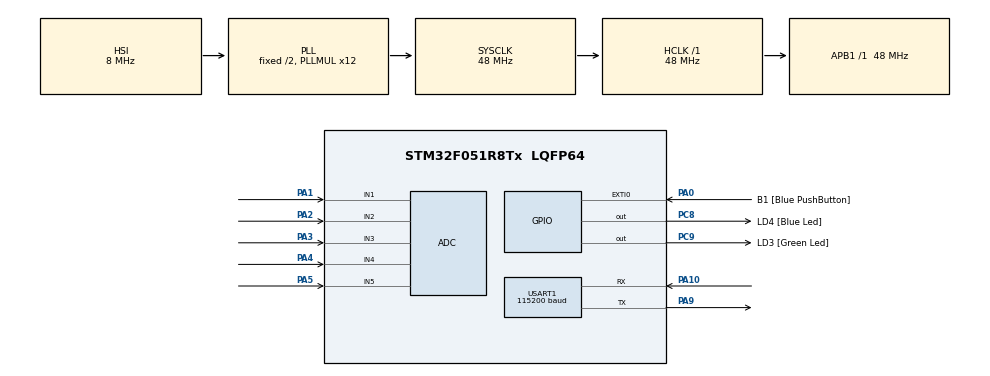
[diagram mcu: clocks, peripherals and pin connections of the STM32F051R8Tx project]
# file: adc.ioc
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ADC.ContinuousConvMode=DISABLE
ADC.DiscontinuousConvMode=DISABLE
ADC.ScanConvMode=ADC_SCAN_DIRECTION_FORWARD
Mcu.Family=STM32F0
Mcu.Name=STM32F051R8Tx
Mcu.Package=LQFP64
NVIC.USART1_IRQn=true\:0\:0\:false\:false\:true\:true\:true
PA0.GPIO_Label=B1 [Blue PushButton]
PA0.GPIO_ModeDefaultEXTI=GPIO_MODE_EVT_RISING
PA0.Signal=GPXTI0
PA1.Mode=IN1
PA1.Signal=ADC_IN1
PA10.Mode=Asynchronous
PA10.Signal=USART1_RX
PA13.GPIO_Label=SWDIO
PA13.Signal=SYS_SWDIO
PA14.GPIO_Label=SWCLK
PA14.Signal=SYS_SWCLK
PA2.Mode=IN2
PA2.Signal=ADC_IN2
PA3.Mode=IN3
PA3.Signal=ADC_IN3
PA4.Mode=IN4
PA4.Signal=ADC_IN4
PA5.Mode=IN5
PA5.Signal=ADC_IN5
PA9.Mode=Asynchronous
PA9.Signal=USART1_TX
PC8.GPIO_Label=LD4 [Blue Led]
PC8.Signal=GPIO_Output
PC9.GPIO_Label=LD3 [Green Led]
PC9.Signal=GPIO_Output
ProjectManager.HeapSize=0x200
ProjectManager.StackSize=0x400
ProjectManager.TargetToolchain=TrueSTUDIO
RCC.AHBFreq_Value=48000000
RCC.APB1Freq_Value=48000000
RCC.APB1TimFreq_Value=48000000
RCC.HCLKFreq_Value=48000000
RCC.PLLMUL=RCC_PLL_MUL12
RCC.SYSCLKFreq_VALUE=48000000
RCC.SYSCLKSource=RCC_SYSCLKSOURCE_PLLCLK
USART1.BaudRate=115200
USART1.VirtualMode-Asynchronous=VM_ASYNC
board=STM32F0DISCOVERY

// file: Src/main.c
/* USER CODE BEGIN Header */
/**
  ******************************************************************************
  * @file           : main.c
  * @brief          : Main program body
  ******************************************************************************
  * @attention
  *
  * <h2><center>&copy; Copyright (c) 2019 STMicroelectronics.
  * All rights reserved.</center></h2>
  *
  * This software component is licensed by ST under BSD 3-Clause license,
  * the "License"; You may not use this file except in compliance with the
  * License. You may obtain a copy of the License at:
  *                        opensource.org/licenses/BSD-3-Clause
  *
  ******************************************************************************
  */
/* USER CODE END Header */

#include "main.h"

/* USER CODE BEGIN Includes */
#include "cgpio.h"
/* USER CODE END Includes */

/* USER CODE BEGIN PM */
 #define ADC_CALIBRATION_ENABLE
#define NUMBER_OF_SAMPLES 15
/* USER CODE END PM */

ADC_HandleTypeDef hadc;

UART_HandleTypeDef huart1;

void SystemClock_Config(void);
static void MX_GPIO_Init(void);
static void MX_USART1_UART_Init(void);
static void MX_ADC_Init(void);
/* USER CODE BEGIN PFP */
static uint32_t convert_adc_to_millivolts(uint32_t adc_value);
static uint8_t sample_adc_group(uint32_t *adc_sample_array , uint8_t number_of_channels_to_sample );
static  void print_adc_values (uint32_t *adc_samples , uint32_t *net_average);
/* USER CODE END PFP */

/* USER CODE BEGIN 0 */
static uint32_t convert_adc_to_millivolts(uint32_t adc_value){

	return (29620 * adc_value)/ 4096;
}
static uint8_t sample_adc_group(uint32_t *adc_sample_array , uint8_t number_of_channels_to_sample )
{
	uint32_t sample_counter  = 0;

	ADC1->CR |= ADC_CR_ADSTART; /* Start the ADC conversion */

	for ( sample_counter = 0;  sample_counter  < number_of_channels_to_sample;  sample_counter ++){
		while ((ADC1->ISR & ADC_ISR_EOC) == 0) {/* Wait end of conversion */
			/* For robust implementation, add here time-out management */
		}
		*(adc_sample_array++) = ADC1->DR; /* Store the ADC conversion result */
	}
}

static void print_adc_values (uint32_t *adc_samples , uint32_t *net_average)
{
	printf("ADC reading 1.[ %x %d] 2.[ %x %d] 3.[ %x %d] 4.[ %x %d] 5.[ %x %d]\r\n\r\n",
	adc_samples[0],convert_adc_to_millivolts(net_average[0]),
	adc_samples[1],convert_adc_to_millivolts(net_average[1]),
	adc_samples[2],convert_adc_to_millivolts(net_average[2]),
	adc_samples[3],convert_adc_to_millivolts(net_average[3]),
	adc_samples[4],convert_adc_to_millivolts(net_average[4]));
}
/* USER CODE END 0 */

int main(void)
{

  /* MCU Configuration--------------------------------------------------------*/

  /* Reset of all peripherals, Initializes the Flash interface and the Systick. */
  HAL_Init();

  /* Configure the system clock */
  SystemClock_Config();

  /* Initialize all configured peripherals */
  MX_GPIO_Init();
  MX_USART1_UART_Init();
  MX_ADC_Init();
  /* USER CODE BEGIN 2 */

#ifdef ADC_CALIBRATION_ENABLE
	#warning "ADC calibration activated"
//	HAL_ADCEx_Calibration_Start(&hadc);
	ADC1->CR |= ADC_CR_ADCAL;
	while (	((ADC1->CR & (ADC_CR_ADCAL)) != 0));

	HAL_ADC_Start(&hadc);
#endif

	uint32_t adc_convertion_state ;
#define MAX_ADC_SAMPLES 3

	/*counters */
	uint32_t hundred_millis  = HAL_GetTick();
	uint32_t seconds_counter = HAL_GetTick();

	/*arrays*/
	uint32_t adc_channel[NUMBER_OF_SAMPLES +1] = {0};
	uint32_t channel_average_adc[NUMBER_OF_SAMPLES +1 ] ={ 0};
	uint32_t acummulated_adc_values[NUMBER_OF_SAMPLES +1] ={ 0 };

	/*flags*/
	uint8_t sample_group_counter = 0;
	uint8_t average_ready = 0;
	uint8_t time_to_sample_group = 0;
	uint8_t time_to_display_adc_group    = 0;
	uint8_t moving_average_flag = 0;

//	printf(" Program start ! %s %s\n",__DATE__,__TIME__ );
	HAL_ADC_Start(&hadc);

	uint8_t samples  = 0;
	uint8_t channel_id = 0;
  /* USER CODE END 2 */

  /* Infinite loop */
  while (1)
  {

    /* USER CODE BEGIN 3 */

	if (HAL_GetTick() > seconds_counter ){
		seconds_counter = HAL_GetTick() + 1000;
		LED_GREEN_TOGGLE();
		time_to_display_adc_group =1;
	}

	if (HAL_GetTick() > hundred_millis ){
		hundred_millis = HAL_GetTick() + 20;

		time_to_sample_group =1;
	}

	if (time_to_sample_group){
		time_to_sample_group = 0;

		sample_adc_group(adc_channel , 5);

		if ( sample_group_counter > (NUMBER_OF_SAMPLES -1)){
			if (average_ready  == 0){
				average_ready = 1;
				for (samples = 0; samples < 5; samples++){
					channel_average_adc[samples] = acummulated_adc_values[samples]/NUMBER_OF_SAMPLES;
				}

			}

		}else{

			for ( channel_id  = 0; channel_id < 5; channel_id++){
				acummulated_adc_values[channel_id] += adc_channel[channel_id];
			}
			sample_group_counter++;
		}
	}

	if(time_to_display_adc_group && average_ready){

		average_ready             = 0;
		sample_group_counter      = 0;
		time_to_display_adc_group = 0;

		print_adc_values (adc_channel, channel_average_adc);
		memset(channel_average_adc,0, sizeof (channel_average_adc ));
		memset(acummulated_adc_values,0,sizeof(acummulated_adc_values));
		memset(adc_channel, 0 , sizeof(adc_channel));
	}

  }
  /* USER CODE END 3 */
}

void SystemClock_Config(void)
{
  RCC_OscInitTypeDef RCC_OscInitStruct = {0};
  RCC_ClkInitTypeDef RCC_ClkInitStruct = {0};
  RCC_PeriphCLKInitTypeDef PeriphClkInit = {0};

  /** Initializes the CPU, AHB and APB busses clocks
  */
  RCC_OscInitStruct.OscillatorType = RCC_OSCILLATORTYPE_HSI|RCC_OSCILLATORTYPE_HSI14;
  RCC_OscInitStruct.HSIState = RCC_HSI_ON;
  RCC_OscInitStruct.HSI14State = RCC_HSI14_ON;
  RCC_OscInitStruct.HSICalibrationValue = RCC_HSICALIBRATION_DEFAULT;
  RCC_OscInitStruct.HSI14CalibrationValue = 16;
  RCC_OscInitStruct.PLL.PLLState = RCC_PLL_ON;
  RCC_OscInitStruct.PLL.PLLSource = RCC_PLLSOURCE_HSI;
  RCC_OscInitStruct.PLL.PLLMUL = RCC_PLL_MUL12;
  RCC_OscInitStruct.PLL.PREDIV = RCC_PREDIV_DIV1;
  if (HAL_RCC_OscConfig(&RCC_OscInitStruct) != HAL_OK)
  {
    Error_Handler();
  }
  /** Initializes the CPU, AHB and APB busses clocks
  */
  RCC_ClkInitStruct.ClockType = RCC_CLOCKTYPE_HCLK|RCC_CLOCKTYPE_SYSCLK
                              |RCC_CLOCKTYPE_PCLK1;
  RCC_ClkInitStruct.SYSCLKSource = RCC_SYSCLKSOURCE_PLLCLK;
  RCC_ClkInitStruct.AHBCLKDivider = RCC_SYSCLK_DIV1;
  RCC_ClkInitStruct.APB1CLKDivider = RCC_HCLK_DIV1;

  if (HAL_RCC_ClockConfig(&RCC_ClkInitStruct, FLASH_LATENCY_1) != HAL_OK)
  {
    Error_Handler();
  }
  PeriphClkInit.PeriphClockSelection = RCC_PERIPHCLK_USART1;
  PeriphClkInit.Usart1ClockSelection = RCC_USART1CLKSOURCE_PCLK1;
  if (HAL_RCCEx_PeriphCLKConfig(&PeriphClkInit) != HAL_OK)
  {
    Error_Handler();
  }
}

static void MX_ADC_Init(void)
{

  ADC_ChannelConfTypeDef sConfig = {0};

  /** Configure the global features of the ADC (Clock, Resolution, Data Alignment and number of conversion)
  */
  hadc.Instance = ADC1;
  hadc.Init.ClockPrescaler = ADC_CLOCK_SYNC_PCLK_DIV4; //ADC_CLOCK_ASYNC_DIV1;
  hadc.Init.Resolution = ADC_RESOLUTION_12B;
  hadc.Init.DataAlign = ADC_DATAALIGN_RIGHT;
  hadc.Init.ScanConvMode = ADC_SCAN_DIRECTION_FORWARD;
  hadc.Init.EOCSelection = ADC_EOC_SINGLE_CONV;
  hadc.Init.LowPowerAutoWait = DISABLE;
  hadc.Init.LowPowerAutoPowerOff = DISABLE;
  hadc.Init.ContinuousConvMode = DISABLE;
  hadc.Init.DiscontinuousConvMode = DISABLE;
  hadc.Init.ExternalTrigConv = ADC_SOFTWARE_START;
  hadc.Init.ExternalTrigConvEdge = ADC_EXTERNALTRIGCONVEDGE_NONE;
  hadc.Init.DMAContinuousRequests = DISABLE;
  hadc.Init.Overrun = ADC_OVR_DATA_PRESERVED;
  if (HAL_ADC_Init(&hadc) != HAL_OK)
  {
    Error_Handler();
  }
  /** Configure for the selected ADC regular channel to be converted.
  */
  sConfig.Channel = ADC_CHANNEL_1;
  sConfig.Rank = ADC_RANK_CHANNEL_NUMBER;
  sConfig.SamplingTime = ADC_SAMPLETIME_7CYCLES_5;//ADC_SAMPLETIME_1CYCLE_5;
  if (HAL_ADC_ConfigChannel(&hadc, &sConfig) != HAL_OK)
  {
    Error_Handler();
  }
  /** Configure for the selected ADC regular channel to be converted.
  */
  sConfig.Channel = ADC_CHANNEL_2;
  if (HAL_ADC_ConfigChannel(&hadc, &sConfig) != HAL_OK)
  {
    Error_Handler();
  }
  /** Configure for the selected ADC regular channel to be converted.
  */
  sConfig.Channel = ADC_CHANNEL_3;
  if (HAL_ADC_ConfigChannel(&hadc, &sConfig) != HAL_OK)
  {
    Error_Handler();
  }
  /** Configure for the selected ADC regular channel to be converted.
  */
  sConfig.Channel = ADC_CHANNEL_4;
  if (HAL_ADC_ConfigChannel(&hadc, &sConfig) != HAL_OK)
  {
    Error_Handler();
  }
  /** Configure for the selected ADC regular channel to be converted.
  */
  sConfig.Channel = ADC_CHANNEL_5;
  if (HAL_ADC_ConfigChannel(&hadc, &sConfig) != HAL_OK)
  {
    Error_Handler();
  }

}

static void MX_USART1_UART_Init(void)
{

  huart1.Instance = USART1;
  huart1.Init.BaudRate = 115200;
  huart1.Init.WordLength = UART_WORDLENGTH_8B;
  huart1.Init.StopBits = UART_STOPBITS_1;
  huart1.Init.Parity = UART_PARITY_NONE;
  huart1.Init.Mode = UART_MODE_TX_RX;
  huart1.Init.HwFlowCtl = UART_HWCONTROL_NONE;
  huart1.Init.OverSampling = UART_OVERSAMPLING_16;
  huart1.Init.OneBitSampling = UART_ONE_BIT_SAMPLE_DISABLE;
  huart1.AdvancedInit.AdvFeatureInit = UART_ADVFEATURE_NO_INIT;
  if (HAL_UART_Init(&huart1) != HAL_OK)
  {
    Error_Handler();
  }

}

static void MX_GPIO_Init(void)
{
  GPIO_InitTypeDef GPIO_InitStruct = {0};

  /* GPIO Ports Clock Enable */
  __HAL_RCC_GPIOA_CLK_ENABLE();
  __HAL_RCC_GPIOC_CLK_ENABLE();

  /*Configure GPIO pin Output Level */
  HAL_GPIO_WritePin(GPIOC, LD4_Pin|LD3_Pin, GPIO_PIN_RESET);

  /*Configure GPIO pin : B1_Pin */
  GPIO_InitStruct.Pin = B1_Pin;
  GPIO_InitStruct.Mode = GPIO_MODE_EVT_RISING;
  GPIO_InitStruct.Pull = GPIO_NOPULL;
  HAL_GPIO_Init(B1_GPIO_Port, &GPIO_InitStruct);

  /*Configure GPIO pins : LD4_Pin LD3_Pin */
  GPIO_InitStruct.Pin = LD4_Pin|LD3_Pin;
  GPIO_InitStruct.Mode = GPIO_MODE_OUTPUT_PP;
  GPIO_InitStruct.Pull = GPIO_NOPULL;
  GPIO_InitStruct.Speed = GPIO_SPEED_FREQ_LOW;
  HAL_GPIO_Init(GPIOC, &GPIO_InitStruct);

}

void Error_Handler(void)
{
}

/************************ (C) COPYRIGHT STMicroelectronics *****END OF FILE****/
